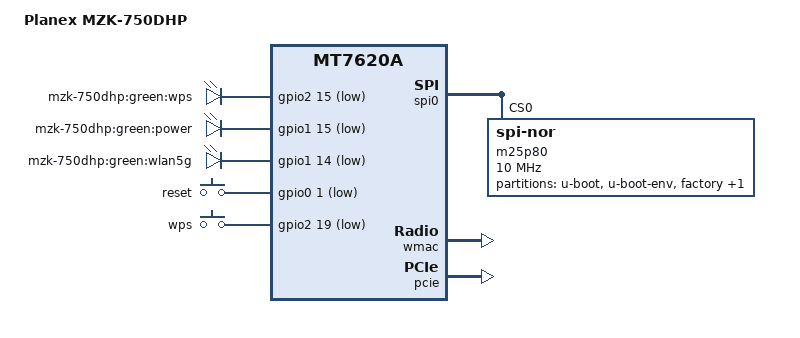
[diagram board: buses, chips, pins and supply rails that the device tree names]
/dts-v1/;

#include "mt7620a.dtsi"

#include <dt-bindings/gpio/gpio.h>
#include <dt-bindings/input/input.h>

/ {
	compatible = "planex,mzk-750dhp", "ralink,mt7620a-soc";
	model = "Planex MZK-750DHP";

	gpio-leds {
		compatible = "gpio-leds";

		wps {
			label = "mzk-750dhp:green:wps";
			gpios = <&gpio2 15 GPIO_ACTIVE_LOW>;
		};

		power {
			label = "mzk-750dhp:green:power";
			gpios = <&gpio1 15 GPIO_ACTIVE_LOW>;
		};

		wlan5g {
			label = "mzk-750dhp:green:wlan5g";
			gpios = <&gpio1 14 GPIO_ACTIVE_LOW>;
		};
	};

	gpio-keys-polled {
		compatible = "gpio-keys-polled";
		#address-cells = <1>;
		#size-cells = <0>;
		poll-interval = <20>;

		s1 {
			label = "reset";
			gpios = <&gpio0 1 GPIO_ACTIVE_LOW>;
			linux,code = <KEY_RESTART>;
		};

		s2 {
			label = "wps";
			gpios = <&gpio2 19 GPIO_ACTIVE_LOW>;
			linux,code = <KEY_WPS_BUTTON>;
		};
	};
};

&gpio1 {
	status = "okay";
};

&gpio2 {
	status = "okay";
};

&spi0 {
	status = "okay";

	m25p80@0 {
		#address-cells = <1>;
		#size-cells = <1>;
		compatible = "jedec,spi-nor";
		reg = <0>;
		spi-max-frequency = <10000000>;

		partition@0 {
			label = "u-boot";
			reg = <0x0 0x30000>;
			read-only;
		};

		partition@30000 {
			label = "u-boot-env";
			reg = <0x30000 0x10000>;
			read-only;
		};

		factory: partition@40000 {
			label = "factory";
			reg = <0x40000 0x10000>;
			read-only;
		};

		partition@50000 {
			label = "firmware";
			reg = <0x50000 0x7b0000>;
		};
	};
};

&pinctrl {
	state_default: pinctrl0 {
		gpio {
			ralink,group = "i2c", "spi refclk", "rgmii1", "nd_sd";
			ralink,function = "gpio";
		};
	};
};

&ethernet {
	pinctrl-names = "default";
	pinctrl-0 = <&ephy_pins>;
	mtd-mac-address = <&factory 0x4>;
	mediatek,portmap = "llllw";
};

&gsw {
	mediatek,port4 = "ephy";
};

&wmac {
	ralink,mtd-eeprom = <&factory 0>;
};

&pcie {
	status = "okay";

	pcie-bridge {
		mt76@0,0 {
			reg = <0x0000 0 0 0 0>;
			device_type = "pci";
			mediatek,mtd-eeprom = <&factory 0x8000>;
		};
	};
};
